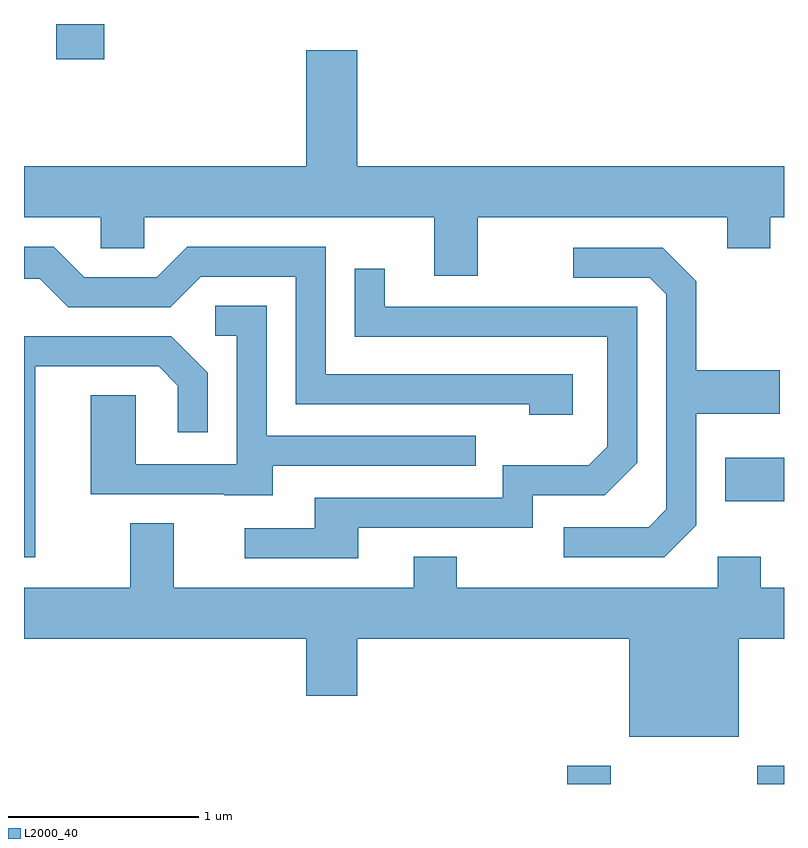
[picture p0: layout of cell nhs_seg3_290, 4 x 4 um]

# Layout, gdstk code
import gdstk
lib = gdstk.Library(unit=1e-6, precision=1e-09)
def R(c, l, rs):  # rectangles x0, y0, x1, y1
    for r in rs: c.add(gdstk.rectangle(r[:2], r[2:], *l))
def P(c, l, *ps):  # polygons
    for p in ps: c.add(gdstk.Polygon(p, *l))
L2000_40 = (2000, 40)

nhs_seg3_290 = lib.new_cell('nhs_seg3_290')
R(nhs_seg3_290, L2000_40, [(196.471,1151.892,196.699,1151.989), (197.471,1151.892,197.611,1151.989), (197.301,1153.381,197.611,1153.609), (193.781,1155.706,194.034,1155.892)])
P(nhs_seg3_290, L2000_40, [(195.999,1154.876),(197.311,1154.876),(197.311,1154.711),(197.539,1154.711),(197.539,1154.876),(197.611,1154.876),(197.611,1155.144),(195.364,1155.144),(195.364,1155.754),(195.096,1155.754),(195.096,1155.144),(193.611,1155.144),(193.611,1154.876),(194.016,1154.876),(194.016,1154.711),(194.244,1154.711),(194.244,1154.876),(195.771,1154.876),(195.771,1154.566),(195.999,1154.566)],
  [(196.499,1154.049),(195.199,1154.049),(195.199,1154.719),(194.469,1154.719),(194.309,1154.559),(193.927,1154.559),(193.767,1154.719),(193.611,1154.719),(193.611,1154.551),(193.694,1154.551),(193.844,1154.401),(194.382,1154.401),(194.542,1154.561),(195.041,1154.561),(195.041,1153.891),(196.271,1153.891),(196.271,1153.836),(196.499,1153.836)],
  [(197.149,1153.254),(197.149,1153.841),(197.589,1153.841),(197.589,1154.069),(197.149,1154.069),(197.149,1154.537),(196.972,1154.714),(196.503,1154.714),(196.503,1154.556),(196.904,1154.556),(196.991,1154.469),(196.991,1153.337),(196.899,1153.244),(196.453,1153.244),(196.453,1153.086),(196.982,1153.086)],
  [(195.369,1153.241),(196.289,1153.241),(196.289,1153.411),(196.667,1153.411),(196.839,1153.584),(196.839,1154.404),(195.509,1154.404),(195.509,1154.603),(195.351,1154.603),(195.351,1154.246),(196.681,1154.246),(196.681,1153.667),(196.584,1153.569),(196.131,1153.569),(196.131,1153.399),(195.141,1153.399),(195.141,1153.239),(194.773,1153.239),(194.773,1153.081),(195.369,1153.081)],
  [(194.919,1153.566),(195.988,1153.566),(195.988,1153.724),(194.889,1153.724),(194.889,1154.409),(194.618,1154.409),(194.618,1154.251),(194.731,1154.251),(194.731,1153.574),(194.199,1153.574),(194.199,1153.939),(193.961,1153.939),(193.961,1153.416),(194.665,1153.416),(194.665,1153.411),(194.919,1153.411)],
  [(193.669,1154.091),(194.319,1154.091),(194.421,1153.989),(194.421,1153.743),(194.579,1153.743),(194.579,1154.057),(194.387,1154.249),(193.611,1154.249),(193.611,1153.086),(193.669,1153.086)],
  [(197.374,1152.656),(197.611,1152.656),(197.611,1152.924),(197.489,1152.924),(197.489,1153.089),(197.261,1153.089),(197.261,1152.924),(195.889,1152.924),(195.889,1153.089),(195.661,1153.089),(195.661,1152.924),(194.399,1152.924),(194.399,1153.264),(194.171,1153.264),(194.171,1152.924),(193.611,1152.924),(193.611,1152.656),(195.096,1152.656),(195.096,1152.356),(195.364,1152.356),(195.364,1152.656),(196.796,1152.656),(196.796,1152.141),(197.374,1152.141)])

lib.write_gds('nhs_seg3_290.gds')
